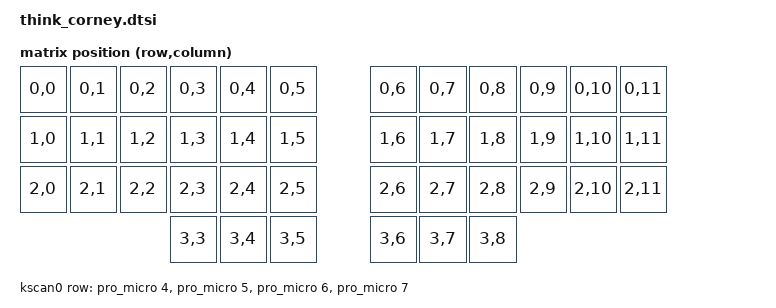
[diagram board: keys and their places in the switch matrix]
/*
 * Copyright (c) 2020 Pete Johanson
 *
 * SPDX-License-Identifier: MIT
 */

#include <dt-bindings/zmk/matrix_transform.h>

/*
 * Matrix
 */

/ {
	chosen {
		zmk,kscan = &kscan0;
		zmk,matrix_transform = &default_transform;
	};

	default_transform: keymap_transform_0 {
		compatible = "zmk,matrix-transform";
		columns = <12>;
		rows = <4>;
        map = <
RC(0,0) RC(0,1) RC(0,2) RC(0,3) RC(0,4) RC(0,5)  RC(0,6) RC(0,7) RC(0,8) RC(0,9) RC(0,10) RC(0,11)
RC(1,0) RC(1,1) RC(1,2) RC(1,3) RC(1,4) RC(1,5)  RC(1,6) RC(1,7) RC(1,8) RC(1,9) RC(1,10) RC(1,11)
RC(2,0) RC(2,1) RC(2,2) RC(2,3) RC(2,4) RC(2,5)  RC(2,6) RC(2,7) RC(2,8) RC(2,9) RC(2,10) RC(2,11)
                        RC(3,3) RC(3,4) RC(3,5)  RC(3,6) RC(3,7) RC(3,8)
        >;
	};

	kscan0: kscan {
		compatible = "zmk,kscan-gpio-matrix";
        wakeup-source;

		diode-direction = "col2row";
		row-gpios
			= <&pro_micro 4 (GPIO_ACTIVE_HIGH | GPIO_PULL_DOWN)>
			, <&pro_micro 5 (GPIO_ACTIVE_HIGH | GPIO_PULL_DOWN)>
			, <&pro_micro 6 (GPIO_ACTIVE_HIGH | GPIO_PULL_DOWN)>
			, <&pro_micro 7 (GPIO_ACTIVE_HIGH | GPIO_PULL_DOWN)>
			;

	};
};

/*
 * Nice!View
 */

&pinctrl {
    spi0_default: spi0_default {
        group1 {
            psels = <NRF_PSEL(SPIM_SCK, 0, 20)>,
                <NRF_PSEL(SPIM_MOSI, 0, 17)>,
                <NRF_PSEL(SPIM_MISO, 0, 25)>;
        };
    };
    spi0_sleep: spi0_sleep {
        group1 {
            psels = <NRF_PSEL(SPIM_SCK, 0, 20)>,
                <NRF_PSEL(SPIM_MOSI, 0, 17)>,
                <NRF_PSEL(SPIM_MISO, 0, 25)>;
            low-power-enable;
        };
    };
};

nice_view_spi: &spi0 {
    compatible = "nordic,nrf-spim";
    pinctrl-0 = <&spi0_default>;
    pinctrl-1 = <&spi0_sleep>;
    pinctrl-names = "default", "sleep";
    cs-gpios = <&pro_micro 9 GPIO_ACTIVE_HIGH>; // Not the default 1
};

&pro_micro_i2c {
    status = "disabled";
};
